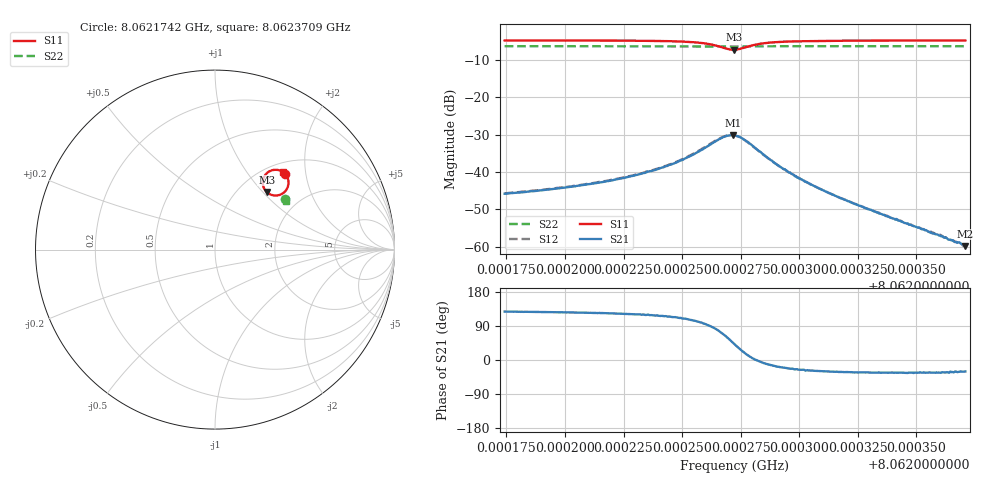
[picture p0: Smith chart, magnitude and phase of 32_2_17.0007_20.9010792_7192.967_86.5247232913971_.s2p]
#  HZ  S  RI  R  50.00
! Rohde & Schwarz Vector Network Analyzer
! Rohde-Schwarz,ZNB20-2Port,1311601062101988,3.16
! Created: UTC 3/20/2024, 10:53:26 PM
! freq[Hz]  re:S11  im:S11  re:S21  im:S21  re:S12  im:S12  re:S22  im:S22
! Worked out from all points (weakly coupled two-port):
!   401 points, 8.0621742 GHz to 8.0623709 GHz, reference 50 ohm
!   highest |S21| = -30.18 dB at 8.0622716 GHz (marker M1); lowest = -59.8 dB at 8.0623709 GHz (marker M2)
!   lowest |S11| = -7.3 dB at 8.0622721 GHz (marker M3), VSWR 2.52, Z = 66.7 + j52.6 ohm
!   |S11| at or under -10 dB: nowhere
!   |S22| runs from -6.5 to -6.3 dB; largest |S21 - S12| = 0.0029
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8.06217423e9  0.3902 0.4224  -0.00313 0.00402  -0.00292 0.00429  0.3916 0.2809
8.06219045e9  0.3928 0.4194  -0.00339 0.00456  -0.00313 0.00482  0.3921 0.28
8.06220717e9  0.3963 0.4148  -0.00377 0.00543  -0.00353 0.00573  0.3928 0.2789
8.06222635e9  0.4016 0.406  -0.00442 0.00722  -0.00405 0.00761  0.3935 0.2777
8.06224012e9  0.4066 0.3935  -0.005 0.00982  -0.00448 0.0103  0.3938 0.2765
8.06224946e9  0.4095 0.3769  -0.00516 0.0133  -0.00426 0.0139  0.3941 0.2752
8.06225487e9  0.4085 0.3606  -0.00415 0.0165  -0.0031 0.0173  0.3939 0.2743
8.06226077e9  0.3978 0.3337  -0.00104 0.022  0.00047 0.0225  0.3932 0.2732
8.06226765e9  0.3448 0.3015  0.0112 0.0271  0.0136 0.0264  0.3908 0.2724
8.06227159e9  0.2937 0.3162  0.0215 0.0223  0.0234 0.0204  0.389 0.2737
8.06227208e9  0.2881 0.321  0.0224 0.0212  0.0244 0.0191  0.3889 0.2739
8.06227257e9  0.2834 0.3262  0.0234 0.0199  0.0251 0.0177  0.3889 0.2741
8.06227454e9  0.2694 0.3505  0.0257 0.0143  0.0265 0.012  0.3887 0.2753
8.062277e9  0.2663 0.3816  0.0253 0.0077  0.0257 0.00568  0.3893 0.2764
8.06228388e9  0.2949 0.4308  0.0178 -0.00192  0.0176 -0.00308  0.3913 0.2777
8.06229224e9  0.3263 0.4438  0.0109 -0.0038  0.0105 -0.00437  0.393 0.2773
8.06229962e9  0.3425 0.4446  0.00755 -0.00362  0.00728 -0.00396  0.3938 0.2767
8.06230552e9  0.3507 0.4435  0.0059 -0.00311  0.0057 -0.00347  0.3944 0.2763
8.06231633e9  0.3608 0.441  0.00397 -0.00239  0.0038 -0.00266  0.395 0.2755
8.06233846e9  0.3715 0.4364  0.00207 -0.00137  0.00199 -0.0015  0.3961 0.2742
8.0623601e9  0.3773 0.4332  0.00117 -0.000775  0.00117 -0.000837  0.3969 0.2729
8.06237092e9  0.3793 0.4318  0.00088 -0.000514  0.000845 -0.000556  0.3974 0.2722
